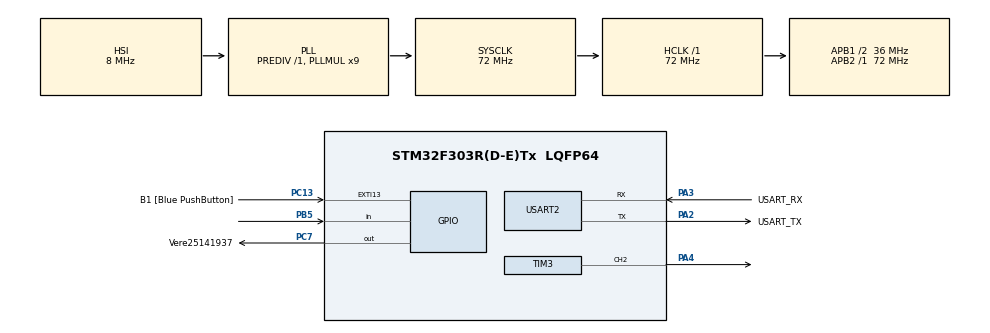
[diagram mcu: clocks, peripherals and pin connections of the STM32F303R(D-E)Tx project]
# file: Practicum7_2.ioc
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Mcu.Family=STM32F3
Mcu.Name=STM32F303R(D-E)Tx
Mcu.Package=LQFP64
NVIC.PriorityGroup=NVIC_PRIORITYGROUP_0
PA13.GPIO_Label=TMS
PA13.Mode=Serial_Wire
PA13.Signal=SYS_JTMS-SWDIO
PA14.GPIO_Label=TCK
PA14.Mode=Serial_Wire
PA14.Signal=SYS_JTCK-SWCLK
PA2.GPIO_Label=USART_TX
PA2.GPIO_Mode=GPIO_MODE_AF_PP
PA2.GPIO_PuPd=GPIO_NOPULL
PA2.GPIO_Speed=GPIO_SPEED_FREQ_LOW
PA2.Mode=Asynchronous
PA2.Signal=USART2_TX
PA3.GPIO_Label=USART_RX
PA3.GPIO_Mode=GPIO_MODE_AF_PP
PA3.GPIO_PuPd=GPIO_NOPULL
PA3.GPIO_Speed=GPIO_SPEED_FREQ_LOW
PA3.Mode=Asynchronous
PA3.Signal=USART2_RX
PA4.Signal=S_TIM3_CH2
PB3.GPIO_Label=SWO
PB3.Signal=SYS_JTDO-TRACESWO
PB5.GPIO_PuPd=GPIO_PULLUP
PB5.Signal=GPIO_Input
PC13.GPIO_Label=B1 [Blue PushButton]
PC13.GPIO_ModeDefaultEXTI=GPIO_MODE_IT_FALLING
PC13.Signal=GPXTI13
PC14-OSC32_IN.Mode=LSE-External-Oscillator
PC14-OSC32_IN.Signal=RCC_OSC32_IN
PC15-OSC32_OUT.Mode=LSE-External-Oscillator
PC15-OSC32_OUT.Signal=RCC_OSC32_OUT
PC7.GPIO_Label=Vere25141937
PC7.Signal=GPIO_Output
PF0-OSC_IN.Mode=HSE-External-Clock-Source
PF0-OSC_IN.Signal=RCC_OSC_IN
PF1-OSC_OUT.Signal=RCC_OSC_OUT
ProjectManager.HeapSize=0x200
ProjectManager.StackSize=0x400
ProjectManager.TargetToolchain=STM32CubeIDE
RCC.AHBFreq_Value=72000000
RCC.APB1CLKDivider=RCC_HCLK_DIV2
RCC.APB1Freq_Value=36000000
RCC.APB1TimFreq_Value=72000000
RCC.APB2Freq_Value=72000000
RCC.APB2TimFreq_Value=72000000
RCC.CortexFreq_Value=72000000
RCC.HCLKFreq_Value=72000000
RCC.HSE_VALUE=8000000
RCC.HSI_VALUE=8000000
RCC.PLLM=8
RCC.PLLMUL=RCC_PLL_MUL9
RCC.PLLN=336
RCC.PLLP=RCC_PLLP_DIV4
RCC.PLLQ=7
RCC.RCC_PLLsource_Clock_Source_FROM_HSE=RCC_HSE_PREDIV_DIV2
RCC.SYSCLKFreq_VALUE=72000000
RCC.SYSCLKSourceVirtual=RCC_SYSCLKSOURCE_PLLCLK
RCC.USBFreq_Value=72000000
SH.S_TIM3_CH2.0=TIM3_CH2,Output Compare2 CH2
TIM3.Channel-Output\ Compare2\ CH2=TIM_CHANNEL_2
TIM3.OC2Preload=ENABLE
TIM3.OCMode_2=TIM_OCMODE_TOGGLE
TIM3.Prescaler=7200-1
USART2.VirtualMode-Asynchronous=VM_ASYNC
VP_TIM3_VS_ClockSourceINT.Mode=Internal
board=NUCLEO-F303RE

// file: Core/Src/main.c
/* USER CODE BEGIN Header */
/**
  ******************************************************************************
  * @file           : main.c
  * @brief          : Main program body
  ******************************************************************************
  * @attention
  *
  * Copyright (c) 2026 STMicroelectronics.
  * All rights reserved.
  *
  * This software is licensed under terms that can be found in the LICENSE file
  * in the root directory of this software component.
  * If no LICENSE file comes with this software, it is provided AS-IS.
  *
  ******************************************************************************
  */
/* USER CODE END Header */
#include "main.h"

/* USER CODE BEGIN Includes */
#include <stdio.h>
/* USER CODE END Includes */

/* USER CODE BEGIN PD */

#define KLOK_FREQ 72000000
#define ARR_D 60068
#define ARR_Ds 57852
#define ARR_F 51540
#define ARR_G 45917
#define TestTIJDSDUUR1 180
#define TestTIJDSDUUR2 120
/* USER CODE END PD */

TIM_HandleTypeDef htim3;

UART_HandleTypeDef huart2;

/* USER CODE BEGIN PV */
int autoReload = 5000-1;
volatile int speel = 0;
/* USER CODE END PV */

void SystemClock_Config(void);
static void MX_GPIO_Init(void);
static void MX_USART2_UART_Init(void);
static void MX_TIM3_Init(void);
/* USER CODE BEGIN PFP */
void speelNoot(double,int);

/* USER CODE END PFP */

int main(void)
{

  /* MCU Configuration--------------------------------------------------------*/

  /* Reset of all peripherals, Initializes the Flash interface and the Systick. */
  HAL_Init();

  /* Configure the system clock */
  SystemClock_Config();

  /* Initialize all configured peripherals */
  MX_GPIO_Init();
  MX_USART2_UART_Init();
  MX_TIM3_Init();
  /* USER CODE BEGIN 2 */
  HAL_TIM_OC_Start(&htim3, TIM_CHANNEL_2);

  char tekst1[20];
  int x = sprintf(tekst1, "timer muziek2\r\n");
  HAL_UART_Transmit(&huart2, (uint8_t*)tekst1, x, HAL_MAX_DELAY);

  // Beethoven intro

  /* USER CODE END 2 */

  /* Infinite loop */
  while (1)
  {

    /* USER CODE BEGIN 3 */
	  if (speel)
	  {
		  speel = 0;
		  speelNoot(ARR_G, TestTIJDSDUUR1);
		  HAL_Delay(TestTIJDSDUUR2);

		  speelNoot(ARR_G, TestTIJDSDUUR1);
		  HAL_Delay(TestTIJDSDUUR2);

		  speelNoot(ARR_G, TestTIJDSDUUR1);
		  HAL_Delay(TestTIJDSDUUR2);

		  speelNoot(ARR_Ds, 4 * TestTIJDSDUUR1);
		  HAL_Delay(2 * TestTIJDSDUUR2);

		  speelNoot(ARR_F, TestTIJDSDUUR1);
		  HAL_Delay(TestTIJDSDUUR2);

		  speelNoot(ARR_F, TestTIJDSDUUR1);
		  HAL_Delay(TestTIJDSDUUR2);

		  speelNoot(ARR_F, TestTIJDSDUUR1);
		  HAL_Delay(TestTIJDSDUUR2);

          speelNoot(ARR_D, 4 * TestTIJDSDUUR1);
	  }
  }
  /* USER CODE END 3 */
}

void SystemClock_Config(void)
{
  RCC_OscInitTypeDef RCC_OscInitStruct = {0};
  RCC_ClkInitTypeDef RCC_ClkInitStruct = {0};
  RCC_PeriphCLKInitTypeDef PeriphClkInit = {0};

  /** Initializes the RCC Oscillators according to the specified parameters
  * in the RCC_OscInitTypeDef structure.
  */
  RCC_OscInitStruct.OscillatorType = RCC_OSCILLATORTYPE_HSI;
  RCC_OscInitStruct.HSIState = RCC_HSI_ON;
  RCC_OscInitStruct.HSICalibrationValue = RCC_HSICALIBRATION_DEFAULT;
  RCC_OscInitStruct.PLL.PLLState = RCC_PLL_ON;
  RCC_OscInitStruct.PLL.PLLSource = RCC_PLLSOURCE_HSI;
  RCC_OscInitStruct.PLL.PLLMUL = RCC_PLL_MUL9;
  RCC_OscInitStruct.PLL.PREDIV = RCC_PREDIV_DIV1;
  if (HAL_RCC_OscConfig(&RCC_OscInitStruct) != HAL_OK)
  {
    Error_Handler();
  }

  /** Initializes the CPU, AHB and APB buses clocks
  */
  RCC_ClkInitStruct.ClockType = RCC_CLOCKTYPE_HCLK|RCC_CLOCKTYPE_SYSCLK
                              |RCC_CLOCKTYPE_PCLK1|RCC_CLOCKTYPE_PCLK2;
  RCC_ClkInitStruct.SYSCLKSource = RCC_SYSCLKSOURCE_PLLCLK;
  RCC_ClkInitStruct.AHBCLKDivider = RCC_SYSCLK_DIV1;
  RCC_ClkInitStruct.APB1CLKDivider = RCC_HCLK_DIV2;
  RCC_ClkInitStruct.APB2CLKDivider = RCC_HCLK_DIV1;

  if (HAL_RCC_ClockConfig(&RCC_ClkInitStruct, FLASH_LATENCY_2) != HAL_OK)
  {
    Error_Handler();
  }
  PeriphClkInit.PeriphClockSelection = RCC_PERIPHCLK_USART2|RCC_PERIPHCLK_TIM34;
  PeriphClkInit.Usart2ClockSelection = RCC_USART2CLKSOURCE_PCLK1;
  PeriphClkInit.Tim34ClockSelection = RCC_TIM34CLK_HCLK;
  if (HAL_RCCEx_PeriphCLKConfig(&PeriphClkInit) != HAL_OK)
  {
    Error_Handler();
  }
}

static void MX_TIM3_Init(void)
{

  TIM_ClockConfigTypeDef sClockSourceConfig = {0};
  TIM_MasterConfigTypeDef sMasterConfig = {0};
  TIM_OC_InitTypeDef sConfigOC = {0};

  htim3.Instance = TIM3;
  htim3.Init.Prescaler = 7200-1;
  htim3.Init.CounterMode = TIM_COUNTERMODE_UP;
  htim3.Init.Period = 65535;
  htim3.Init.ClockDivision = TIM_CLOCKDIVISION_DIV1;
  htim3.Init.AutoReloadPreload = TIM_AUTORELOAD_PRELOAD_DISABLE;
  if (HAL_TIM_Base_Init(&htim3) != HAL_OK)
  {
    Error_Handler();
  }
  sClockSourceConfig.ClockSource = TIM_CLOCKSOURCE_INTERNAL;
  if (HAL_TIM_ConfigClockSource(&htim3, &sClockSourceConfig) != HAL_OK)
  {
    Error_Handler();
  }
  if (HAL_TIM_OC_Init(&htim3) != HAL_OK)
  {
    Error_Handler();
  }
  sMasterConfig.MasterOutputTrigger = TIM_TRGO_RESET;
  sMasterConfig.MasterSlaveMode = TIM_MASTERSLAVEMODE_DISABLE;
  if (HAL_TIMEx_MasterConfigSynchronization(&htim3, &sMasterConfig) != HAL_OK)
  {
    Error_Handler();
  }
  sConfigOC.OCMode = TIM_OCMODE_TOGGLE;
  sConfigOC.Pulse = 0;
  sConfigOC.OCPolarity = TIM_OCPOLARITY_HIGH;
  sConfigOC.OCFastMode = TIM_OCFAST_DISABLE;
  if (HAL_TIM_OC_ConfigChannel(&htim3, &sConfigOC, TIM_CHANNEL_2) != HAL_OK)
  {
    Error_Handler();
  }
  __HAL_TIM_ENABLE_OCxPRELOAD(&htim3, TIM_CHANNEL_2);
  HAL_TIM_MspPostInit(&htim3);

}

static void MX_USART2_UART_Init(void)
{

  huart2.Instance = USART2;
  huart2.Init.BaudRate = 38400;
  huart2.Init.WordLength = UART_WORDLENGTH_8B;
  huart2.Init.StopBits = UART_STOPBITS_1;
  huart2.Init.Parity = UART_PARITY_NONE;
  huart2.Init.Mode = UART_MODE_TX_RX;
  huart2.Init.HwFlowCtl = UART_HWCONTROL_NONE;
  huart2.Init.OverSampling = UART_OVERSAMPLING_16;
  huart2.Init.OneBitSampling = UART_ONE_BIT_SAMPLE_DISABLE;
  huart2.AdvancedInit.AdvFeatureInit = UART_ADVFEATURE_NO_INIT;
  if (HAL_UART_Init(&huart2) != HAL_OK)
  {
    Error_Handler();
  }

}

static void MX_GPIO_Init(void)
{
  GPIO_InitTypeDef GPIO_InitStruct = {0};

  /* GPIO Ports Clock Enable */
  __HAL_RCC_GPIOC_CLK_ENABLE();
  __HAL_RCC_GPIOF_CLK_ENABLE();
  __HAL_RCC_GPIOA_CLK_ENABLE();
  __HAL_RCC_GPIOB_CLK_ENABLE();

  /*Configure GPIO pin Output Level */
  HAL_GPIO_WritePin(Vere25141937_GPIO_Port, Vere25141937_Pin, GPIO_PIN_RESET);

  /*Configure GPIO pin : B1_Pin */
  GPIO_InitStruct.Pin = B1_Pin;
  GPIO_InitStruct.Mode = GPIO_MODE_IT_FALLING;
  GPIO_InitStruct.Pull = GPIO_NOPULL;
  HAL_GPIO_Init(B1_GPIO_Port, &GPIO_InitStruct);

  /*Configure GPIO pin : Vere25141937_Pin */
  GPIO_InitStruct.Pin = Vere25141937_Pin;
  GPIO_InitStruct.Mode = GPIO_MODE_OUTPUT_PP;
  GPIO_InitStruct.Pull = GPIO_NOPULL;
  GPIO_InitStruct.Speed = GPIO_SPEED_FREQ_LOW;
  HAL_GPIO_Init(Vere25141937_GPIO_Port, &GPIO_InitStruct);

  /*Configure GPIO pin : PB5 */
  GPIO_InitStruct.Pin = GPIO_PIN_5;
  GPIO_InitStruct.Mode = GPIO_MODE_INPUT;
  GPIO_InitStruct.Pull = GPIO_PULLUP;
  HAL_GPIO_Init(GPIOB, &GPIO_InitStruct);

}

/* USER CODE BEGIN 4 */
void HAL_GPIO_EXTI_Callback(uint16_t GPIO_Pin)
{
    if(GPIO_Pin == B1_Pin)
    {
        speel = 1;
    }
}
void speelNoot(double n, int d)
{
    __HAL_TIM_SET_AUTORELOAD(&htim3, (uint32_t)n);
    HAL_Delay(d);
}
/* USER CODE END 4 */

void Error_Handler(void)
{
  __disable_irq();
  while (1)
  {
  }
}
